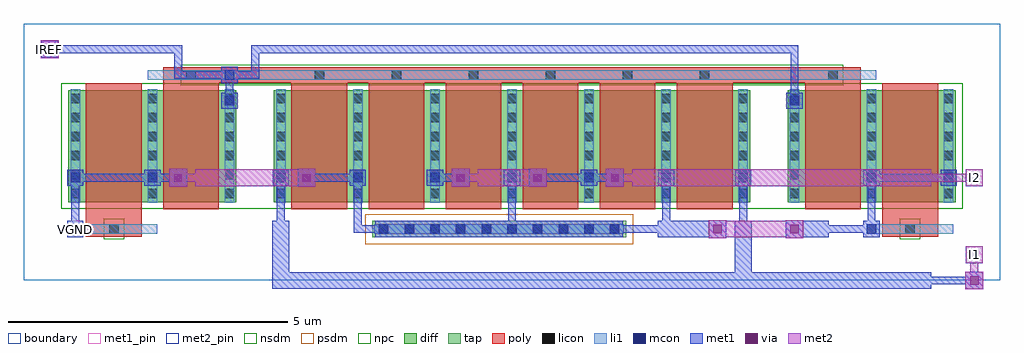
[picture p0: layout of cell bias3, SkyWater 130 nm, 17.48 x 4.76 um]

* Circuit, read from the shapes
.subckt bias3 I1 I2 IREF VGND
XM1 VGND VGND VGND VGND sky130_fd_pr__nfet_01v8 w=2 l=1 m=2
XM2 IREF IREF VGND VGND sky130_fd_pr__nfet_01v8 w=2 l=1 m=2
XM3 VGND IREF I1 VGND sky130_fd_pr__nfet_01v8 w=2 l=1 m=2
XM4 I2 IREF VGND VGND sky130_fd_pr__nfet_01v8 w=2 l=1 m=4
.ends

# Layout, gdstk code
import gdstk
lib = gdstk.Library(unit=1e-6, precision=1e-09)
def R(c, l, rs):  # rectangles x0, y0, x1, y1
    for r in rs: c.add(gdstk.rectangle(r[:2], r[2:], *l))
def A(c, l, x, y, w, h, nx, ny, dx, dy):  # array of equal rectangles
    R(c, l, [(x+i*dx, y+j*dy, x+i*dx+w, y+j*dy+h) for i in range(nx) for j in range(ny)])
diff = (65, 20)
tap = (65, 44)
poly = (66, 20)
licon = (66, 44)
li1 = (67, 20)
mcon = (67, 44)
met1_pin = (68, 16)
met1 = (68, 20)
via = (68, 44)
met2_pin = (69, 16)
met2 = (69, 20)
nsdm = (93, 44)
psdm = (94, 20)
npc = (95, 20)
boundary = (235, 4)

bias3 = lib.new_cell('bias3')
R(bias3, diff, [(0.795,1.405,3.805,3.405), (4.475,1.405,13.005,3.405), (13.675,1.405,16.685,3.405)])
R(bias3, tap, [(6.235,0.775,10.785,1.065)])
A(bias3, poly, 4.79, 1.275, 1, 2.405, 6, 1, 1.38, 0)
R(bias3, poly, [(1.11,0.785,2.11,1.055), (15.37,0.785,16.37,1.055), (1.11,0.92,2.11,3.535), (15.37,0.92,16.37,3.535), (2.49,1.275,3.49,3.68), (13.99,1.275,14.99,3.68), (2.49,3.545,14.99,3.815)])
A(bias3, licon, 6.355, 0.835, 0.17, 0.17, 10, 1, 0.46, 0)
A(bias3, licon, 0.835, 1.47, 0.17, 0.17, 3, 6, 1.38, 0.34)
A(bias3, licon, 4.515, 1.47, 0.17, 0.17, 7, 6, 1.38, 0.34)
A(bias3, licon, 13.715, 1.47, 0.17, 0.17, 3, 6, 1.38, 0.34)
A(bias3, licon, 5.205, 3.595, 0.17, 0.17, 6, 1, 1.38, 0)
R(bias3, licon, [(1.525,0.835,1.695,1.005), (15.785,0.835,15.955,1.005), (2.905,3.595,3.075,3.765), (14.405,3.595,14.575,3.765)])
A(bias3, li1, 0.835, 1.39, 0.17, 2.03, 3, 1, 1.38, 0)
A(bias3, li1, 4.515, 1.39, 0.17, 2.03, 7, 1, 1.38, 0)
A(bias3, li1, 13.715, 1.39, 0.17, 2.03, 3, 1, 1.38, 0)
R(bias3, li1, [(0.835,0.835,2.385,1.005), (6.275,0.835,10.745,1.005), (15.095,0.835,16.645,1.005), (2.215,3.595,15.265,3.765)])
A(bias3, mcon, 6.355, 0.835, 0.17, 0.17, 10, 1, 0.46, 0)
A(bias3, mcon, 4.515, 1.755, 0.17, 0.17, 7, 1, 1.38, 0)
R(bias3, mcon, [(0.835,0.835,1.005,1.005), (15.095,0.835,15.265,1.005), (0.835,1.755,1.005,1.925), (2.215,1.755,2.385,1.925), (15.095,1.755,15.265,1.925), (16.475,1.755,16.645,1.925), (3.595,3.135,3.765,3.305), (13.715,3.135,13.885,3.305), (3.595,3.595,3.765,3.765)])
R(bias3, met1_pin, [(0.775,0.775,1.065,1.065)])
A(bias3, met1, 5.91, 0.85, 0.14, 1.06, 3, 1, 2.76, 0)
A(bias3, met1, 7.66, 1.68, 0.32, 0.32, 3, 1, 1.38, 0)
A(bias3, met1, 4.455, 1.695, 0.29, 0.29, 7, 1, 1.38, 0)
R(bias3, met1, [(16.86,-0.16,17.18,0.16), (4.45,-0.15,4.75,1.07), (4.45,-0.15,13.03,0.15), (12.73,-0.15,13.03,1.07), (12.73,-0.15,16.25,0.15), (16.03,-0.07,17.09,0.07), (12.26,0.76,12.58,1.08), (13.64,0.76,13.96,1.08), (11.35,0.77,12.57,1.07), (13.65,0.77,14.41,1.07), (0.775,0.775,1.065,1.065), (6.295,0.775,10.725,1.065), (15.035,0.775,15.325,1.065), (0.85,0.85,0.99,1.91), (4.53,0.85,4.67,1.91), (5.91,0.85,6.51,0.99), (6.37,0.85,8.81,0.99), (6.37,0.85,6.51,0.99), (8.67,0.85,11.57,0.99), (12.81,0.85,12.95,1.91), (14.19,0.85,15.25,0.99), (15.11,0.85,15.25,1.91), (2.6,1.68,2.92,2), (4.9,1.68,5.22,2), (0.775,1.695,1.065,1.985), (2.155,1.695,2.445,1.985), (15.035,1.695,15.325,1.985), (16.415,1.695,16.705,1.985), (0.85,1.77,2.37,1.91), (2.23,1.77,2.83,1.91), (4.99,1.77,6.05,1.91), (7.29,1.77,7.89,1.91), (9.13,1.77,10.19,1.91), (10.05,1.77,10.65,1.91), (15.11,1.77,16.63,1.91), (3.535,3.075,3.825,3.365), (13.655,3.075,13.945,3.365), (3.61,3.15,3.75,3.75), (13.73,3.15,13.87,4.21), (3.535,3.535,3.825,3.825), (2.69,3.61,2.83,4.21), (2.69,3.61,3.75,3.75), (3.61,3.61,4.21,3.75), (4.07,3.61,4.21,4.21), (0.3,3.98,0.62,4.3), (0.39,4.07,2.83,4.21), (4.07,4.07,13.87,4.21)])
A(bias3, via, 7.745, 1.765, 0.15, 0.15, 3, 1, 1.38, 0)
R(bias3, via, [(16.945,-0.075,17.095,0.075), (12.345,0.845,12.495,0.995), (13.725,0.845,13.875,0.995), (2.685,1.765,2.835,1.915), (4.985,1.765,5.135,1.915), (0.385,4.065,0.535,4.215)])
R(bias3, met2_pin, [(16.87,0.31,17.17,0.61), (16.87,1.69,17.17,1.99), (0.31,3.99,0.61,4.29)])
A(bias3, met2, 7.66, 1.68, 0.32, 0.32, 3, 1, 1.38, 0)
R(bias3, met2, [(16.86,-0.16,17.18,0.16), (16.95,-0.07,17.09,0.53), (16.87,0.31,17.17,0.61), (16.95,0.39,17.09,0.53), (12.26,0.76,12.58,1.08), (13.64,0.76,13.96,1.08), (12.27,0.77,13.95,1.07), (2.6,1.68,2.92,2), (4.9,1.68,5.22,2), (3.07,1.69,5.21,1.99), (8.13,1.69,9.35,1.99), (10.89,1.69,16.25,1.99), (16.87,1.69,17.17,1.99), (2.69,1.77,3.29,1.91), (7.75,1.77,8.35,1.91), (10.51,1.77,11.11,1.91), (16.03,1.77,17.09,1.91), (16.95,1.77,17.09,1.91), (0.3,3.98,0.62,4.3), (0.31,3.99,0.61,4.29), (0.39,4.07,0.53,4.21)])
R(bias3, nsdm, [(0.67,1.28,16.81,3.53)])
R(bias3, psdm, [(6.11,0.65,10.91,1.19)])
R(bias3, npc, [(1.425,0.735,1.795,1.105), (15.685,0.735,16.055,1.105), (2.805,3.495,14.675,3.865)])
R(bias3, boundary, [(0,0,17.48,4.6)])
bias3.add(gdstk.Label('VGND', (0.92,0.92), layer=68, texttype=5))
bias3.add(gdstk.Label('IREF', (0.46,4.14), layer=69, texttype=5))
bias3.add(gdstk.Label('I1', (17.02,0.46), layer=69, texttype=5))
bias3.add(gdstk.Label('I2', (17.02,1.84), layer=69, texttype=5))
bias3.add(gdstk.Label('VGND', (0.92,0.92), layer=68, texttype=16))
bias3.add(gdstk.Label('IREF', (0.46,4.14), layer=69, texttype=16))
bias3.add(gdstk.Label('I1', (17.02,0.46), layer=69, texttype=16))
bias3.add(gdstk.Label('I2', (17.02,1.84), layer=69, texttype=16))

lib.write_gds('bias3.gds')
